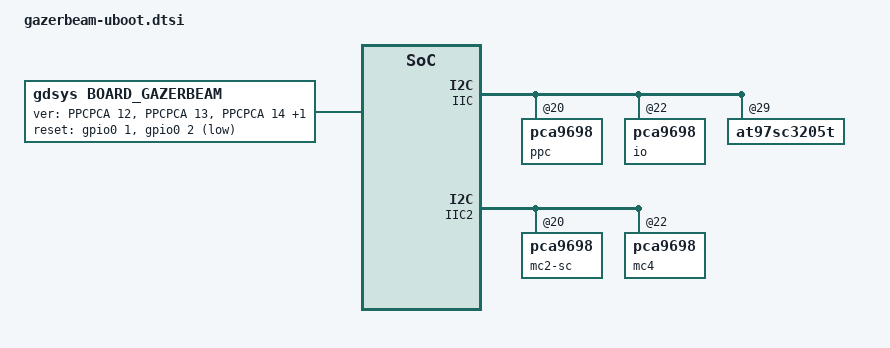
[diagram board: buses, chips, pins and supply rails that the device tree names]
#include <dt-bindings/memory/mpc83xx-sdram.h>
#include <dt-bindings/clk/mpc83xx-clk.h>

/ {
	aliases {
		i2c0 = &IIC;
		i2c1 = &IIC2;
		i2c2 = "/fpga0bus/fpga0_iic_main";
		i2c3 = "/fpga0bus/fpga0_iic_video0";
		i2c4 = "/fpga0bus/fpga0_iic_video1";
		i2c5 = "/fpga0bus/fpga0_iic_usb";
		gdsys_soc0 = "/fpga0bus";
		gdsys_soc1 = "/fpga1bus";
		ioep0 = "/fpga0bus/fpga0_ep0";
		ioep1 = "/fpga0bus/fpga1_ep0";
	};

	chosen {
		stdout-path = &serial1;
	};

	cpus {
		compatible = "cpu_bus";
		u-boot,dm-pre-reloc;

		PowerPC,8308@0 {
			compatible = "fsl,mpc8308";
			clocks = <&socclocks MPC83XX_CLK_CORE
			          &socclocks MPC83XX_CLK_CSB>;
			u-boot,dm-pre-reloc;
		};
	};

	board {
		compatible = "gdsys,board_gazerbeam";
		csb = <&board_soc>;
		serdes = <&SERDES>;
		rxaui0 = <&RXAUI0_0>;
		rxaui1 = <&RXAUI0_1>;
		rxaui2 = <&RXAUI0_2>;
		rxaui3 = <&RXAUI0_3>;
		rxaui4 = <&RXAUI1_0>;
		rxaui5 = <&RXAUI1_1>;
		rxaui6 = <&RXAUI1_2>;
		rxaui7 = <&RXAUI1_3>;
		fpga0 = <&FPGA0>;
		fpga1 = <&FPGA1>;
		ioep0 = <&IOEP0>;
		ioep1 = <&IOEP1>;

		ver-gpios = <&PPCPCA 12 0
			     &PPCPCA 13 0
			     &PPCPCA 14 0
			     &PPCPCA 15 0>;

		/* MC2/SC-Board */
		var-gpios-mc2 = <&GPIO_VB0 0 0    /* VAR-MC_SC */
				 &GPIO_VB0 11 0>; /* VAR-CON */
		/* MC4-Board */
		var-gpios-mc4 = <&GPIO_VB1 0 0    /* VAR-MC_SC */
				 &GPIO_VB1 11 0>; /* VAR-CON */

		reset-gpios = <&gpio0 1 0 &gpio0 2 1>;
	};

	socclocks: clocks {
		compatible = "fsl,mpc8308-clk";
		#clock-cells = <1>;
		u-boot,dm-pre-reloc;
	};

	timer {
		compatible = "fsl,mpc83xx-timer";
		clocks = <&socclocks MPC83XX_CLK_CSB>;
	};
};

&FPGA0 {
	reset-gpios = <&PPCPCA 26 0>;
	done-gpios = <&GPIO_VB0 19 0>;
};

&FPGA1 {
	status = "disable";
};

&FPGA0BUS {
	ranges = <0x0 0xe0600000 0x00004000>;
	fpga = <&FPGA0>;

	fpga0_video0 {
		mode = "640_480_60";

		status = "disabled";
	};

	RXAUI0_0: fpga0_rxaui@fc0 {
		compatible = "gdsys,rxaui_ctrl";
		reg = <0x0fc0 0x10>;
	};

	fpga0_iic_video0  {
		status = "disabled";
	};

	fpga0_axi_video0 {
		status = "disabled";
	};

	fpga0_video1 {
		mode = "640_480_60";
		status = "disabled";
	};

	fpga0_iic_video1  {
		status = "disabled";
	};

	fpga0_axi_video1 {
		status = "disabled";
	};

	IOEP0: fpga0_ep0 {
	};

	RXAUI0_1: fpga0_rxaui@fd0 {
		compatible = "gdsys,rxaui_ctrl";
		reg = <0x0fd0 0x10>;
	};

	RXAUI0_2: fpga0_rxaui@fe0 {
		compatible = "gdsys,rxaui_ctrl";
		reg = <0x0fe0 0x10>;
	};

	RXAUI0_3: fpga0_rxaui@ff0 {
		compatible = "gdsys,rxaui_ctrl";
		reg = <0x0ff0 0x10>;
	};
};

&FPGA1BUS {
	ranges = <0x0 0xe0700000 0x00004000>;
	fpga = <&FPGA1>;

	status = "disable";

	fpga1_video0 {
		mode = "640_480_60";
	};

	RXAUI1_0: fpga0_rxaui@fc0 {
		compatible = "gdsys,rxaui_ctrl";
		reg = <0x0fc0 0x10>;
	};

	fpga1_video1 {
		mode = "640_480_60";
	};

	IOEP1: fpga1_ep0 {
	};

	RXAUI1_1: fpga0_rxaui@fd0 {
		compatible = "gdsys,rxaui_ctrl";
		reg = <0x0fd0 0x10>;
	};

	RXAUI1_2: fpga0_rxaui@fe0 {
		compatible = "gdsys,rxaui_ctrl";
		reg = <0x0fe0 0x10>;
	};

	RXAUI1_3: fpga0_rxaui@ff0 {
		compatible = "gdsys,rxaui_ctrl";
		reg = <0x0ff0 0x10>;
	};
};

&board_soc {
	u-boot,dm-pre-reloc;
	clocks = <&socclocks MPC83XX_CLK_CSB>;

	memory@2000 {
		u-boot,dm-pre-reloc;
	};

	sdhc@2e000 {
		clocks = <&socclocks MPC83XX_CLK_SDHC>;
		clock-names = "per";
	};

	SERDES: serdes@e3000 {
		reg = <0xe3000 0x200>;
		compatible = "fsl,mpc83xx-serdes";
		proto = "pex";
		serdes-clk = <100>;
		vdd;
	};
};

&IIC {
	clocks = <&socclocks MPC83XX_CLK_I2C1>;

	PPCPCA: pca9698@20 {
		label = "ppc";
	};

	IOPCA: pca9698@22 {
		label = "io";
	};

	at97sc3205t@29 {
		u-boot,i2c-offset-len = <0>;
	};
};

&IIC2 {
	clocks = <&socclocks MPC83XX_CLK_I2C2>;

	GPIO_VB0: pca9698@20 {
		label = "mc2-sc";
	};

	GPIO_VB1: pca9698@22 {
		label = "mc4";
	};
};

&board_soc {
	u-boot,dm-pre-reloc;
};

&GPIO_VB0 {
	u-boot,dm-pre-reloc;
};

&serial0 {
	clocks = <&socclocks MPC83XX_CLK_CSB>;
	u-boot,dm-pre-reloc;
};

&serial1 {
	clocks = <&socclocks MPC83XX_CLK_CSB>;
	u-boot,dm-pre-reloc;
};

&pci0 {
	clocks = <&socclocks MPC83XX_CLK_PCIEXP1>;
};
